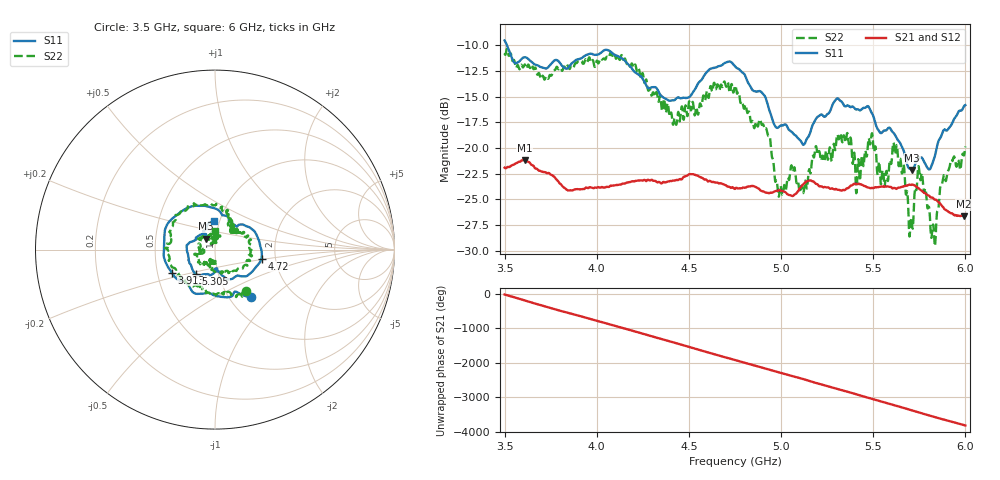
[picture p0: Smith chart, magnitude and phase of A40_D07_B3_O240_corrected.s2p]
! Created with skrf 1.9.0 (http://scikit-rf.org).
# Hz S RI R 50.0
!freq ReS11 ImS11 ReS21 ImS21 ReS12 ImS12 ReS22 ImS22
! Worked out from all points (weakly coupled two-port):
!   1601 points, 3.5 GHz to 6 GHz, reference 50 ohm
!   highest |S21| = -21.18 dB at 3.609 GHz (marker M1); lowest = -26.6 dB at 5.992 GHz (marker M2)
!   lowest |S11| = -22.2 dB at 5.711 GHz (marker M3), VSWR 1.17, Z = 44.9 + j5.43 ohm
!   |S11| at or under -10 dB: 3.513 GHz to end of sweep
!   |S22| runs from -29.6 to -10.3 dB; largest |S21 - S12| = 0.001
!   S11 on the Smith chart (normalised r, x): 3.5 GHz: 1.26, -0.75; 3.913 GHz: 0.59, -0.16; 4.72 GHz: 1.69, -0.18; 5.305 GHz: 0.78, -0.22; 6 GHz: 0.94, +0.31
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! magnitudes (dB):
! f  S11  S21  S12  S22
! 3.5 GHz  -9.5  -21.9  -21.9  -10.8
! 3.609 GHz  -11.2  -21.2  -21.2  -11.9
! 3.913 GHz  -11.3  -24.0  -24.0  -11.6
! 3.917 GHz  -11.2  -24.0  -24.0  -11.5
! 4.334 GHz  -14.5  -23.3  -23.3  -15.5
! 4.423 GHz  -15.3  -23.2  -23.2  -17.1
! 4.72 GHz  -11.6  -23.8  -23.8  -14.6
! 4.75 GHz  -12.0  -24.0  -23.9  -14.0
! 4.928 GHz  -15.8  -24.4  -24.4  -18.7
! 4.995 GHz  -17.8  -24.1  -24.1  -23.7
! 5.167 GHz  -17.9  -23.2  -23.2  -21.3
! 5.305 GHz  -15.2  -24.1  -24.0  -18.7
! 5.417 GHz  -16.2  -23.5  -23.6  -21.4
! 5.486 GHz  -16.4  -23.9  -23.9  -19.5
! 5.584 GHz  -18.0  -23.8  -23.7  -22.3
! 5.62 GHz  -18.8  -23.9  -24.0  -20.5
! 5.711 GHz  -22.2  -23.6  -23.5  -27.5
! 5.755 GHz  -20.9  -24.1  -24.0  -23.0
! 5.827 GHz  -21.2  -24.9  -24.9  -27.5
! 5.875 GHz  -18.5  -25.7  -25.6  -23.4
! 5.992 GHz  -15.9  -26.6  -26.6  -20.7
! 6 GHz  -15.8  -26.6  -26.6  -19.9
